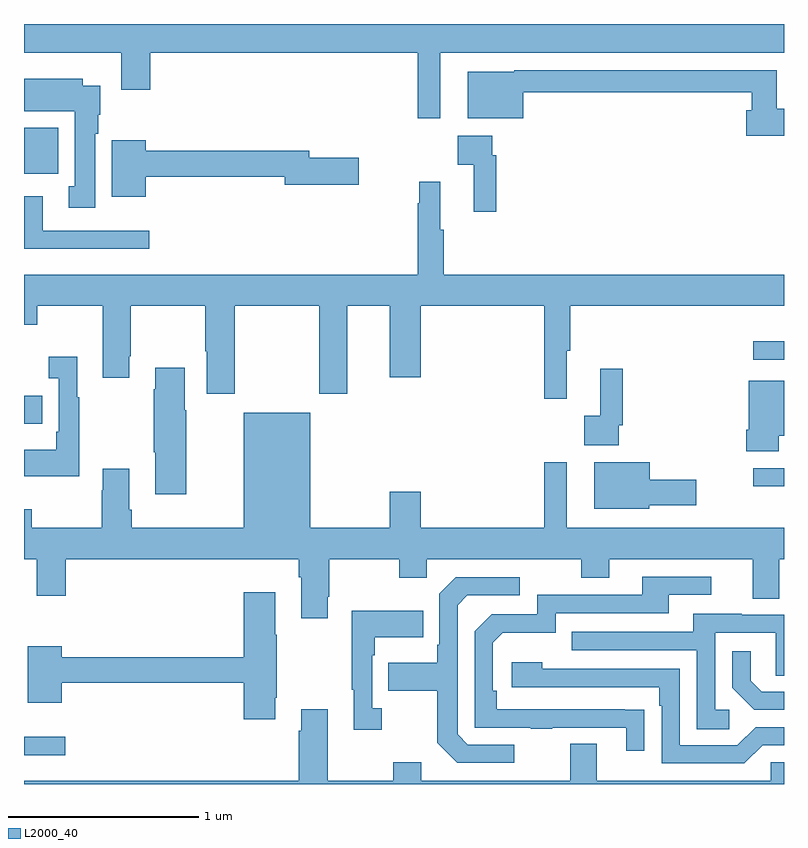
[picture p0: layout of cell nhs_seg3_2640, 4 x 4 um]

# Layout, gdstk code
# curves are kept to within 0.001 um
import gdstk
lib = gdstk.Library(unit=1e-6, precision=1e-09)
def R(c, l, rs):  # rectangles x0, y0, x1, y1
    for r in rs: c.add(gdstk.rectangle(r[:2], r[2:], *l))
def P(c, l, *ps):  # polygons
    for p in ps: c.add(gdstk.Polygon(p, *l))
L2000_40 = (2000, 40)

nhs_seg3_2640 = lib.new_cell('nhs_seg3_2640')
R(nhs_seg3_2640, L2000_40, [(247,698.552,247.216,698.649), (250.839,699.966,251,700.062), (247,700.295,247.097,700.443), (250.839,700.632,251,700.73), (247,701.612,247.18,701.854)])
P(nhs_seg3_2640, L2000_40, [(249.19,702.248),(251,702.248),(251,702.4),(247,702.4),(247,702.248),(247.511,702.248),(247.511,702.054),(247.664,702.054),(247.664,702.248),(249.073,702.248),(249.073,701.904),(249.19,701.904)],
  [(251,701.955),(250.961,701.955),(250.961,702.156),(249.579,702.156),(249.579,702.148),(249.335,702.148),(249.335,701.903),(249.628,701.903),(249.628,702.04),(250.829,702.04),(250.829,701.947),(250.802,701.947),(250.802,701.813),(251,701.813)],
  [(247.375,701.822),(247.39,701.822),(247.39,701.922),(247.402,701.922),(247.402,702.076),(247.309,702.076),(247.309,702.112),(247,702.112),(247,701.942),(247.268,701.942),(247.268,701.546),(247.235,701.546),(247.235,701.433),(247.375,701.433)],
  [(249.485,701.708),(249.465,701.708),(249.465,701.812),(249.282,701.812),(249.282,701.66),(249.368,701.66),(249.368,701.412),(249.485,701.412)],
  [(247.642,701.596),(248.372,701.596),(248.372,701.554),(248.761,701.554),(248.761,701.696),(248.5,701.696),(248.5,701.732),(247.642,701.732),(247.642,701.788),(247.463,701.788),(247.463,701.492),(247.642,701.492)],
  [(249.857,700.68),(249.875,700.68),(249.875,700.916),(251,700.916),(251,701.08),(249.209,701.08),(249.209,701.316),(249.191,701.316),(249.191,701.569),(249.081,701.569),(249.081,701.456),(249.073,701.456),(249.073,701.08),(247,701.08),(247,700.817),(247.071,700.817),(247.071,700.916),(247.415,700.916),(247.415,700.539),(247.555,700.539),(247.555,700.651),(247.563,700.651),(247.563,700.916),(247.954,700.916),(247.954,700.678),(247.961,700.678),(247.961,700.455),(248.109,700.455),(248.109,700.916),(248.554,700.916),(248.554,700.455),(248.701,700.455),(248.701,700.916),(248.924,700.916),(248.924,700.542),(249.088,700.542),(249.088,700.916),(249.739,700.916),(249.739,700.428),(249.857,700.428)],
  [(247.66,701.313),(247.099,701.313),(247.099,701.494),(247,701.494),(247,701.216),(247.66,701.216)],
  [(247.291,700.435),(247.279,700.435),(247.279,700.648),(247.131,700.648),(247.131,700.535),(247.182,700.535),(247.182,700.255),(247.17,700.255),(247.17,700.159),(247,700.159),(247,700.019),(247.291,700.019)],
  [(247.854,700.367),(247.846,700.367),(247.846,700.591),(247.691,700.591),(247.691,700.478),(247.684,700.478),(247.684,700.147),(247.691,700.147),(247.691,699.924),(247.854,699.924)],
  [(250.131,700.288),(250.151,700.288),(250.151,700.585),(250.034,700.585),(250.034,700.337),(249.948,700.337),(249.948,700.184),(250.131,700.184)],
  [(250.972,700.232),(251,700.232),(251,700.522),(250.814,700.522),(250.814,700.264),(250.802,700.264),(250.802,700.152),(250.972,700.152)],
  [(248.506,700.354),(248.156,700.354),(248.156,699.748),(247.568,699.748),(247.568,699.844),(247.555,699.844),(247.555,700.06),(247.415,700.06),(247.415,699.947),(247.408,699.947),(247.408,699.748),(247.041,699.748),(247.041,699.847),(247,699.847),(247,699.584),(247.067,699.584),(247.067,699.39),(247.22,699.39),(247.22,699.584),(248.447,699.584),(248.447,699.488),(248.459,699.488),(248.459,699.273),(248.599,699.273),(248.599,699.385),(248.607,699.385),(248.607,699.584),(248.974,699.584),(248.974,699.485),(249.12,699.485),(249.12,699.584),(249.934,699.584),(249.934,699.485),(250.081,699.485),(250.081,699.584),(250.835,699.584),(250.835,699.376),(250.975,699.376),(250.975,699.584),(251,699.584),(251,699.748),(249.856,699.748),(249.856,700.093),(249.739,700.093),(249.739,699.748),(249.088,699.748),(249.088,699.937),(248.924,699.937),(248.924,699.748),(248.506,699.748)],
  [(250.29,699.866),(250.537,699.866),(250.537,700.001),(250.294,700.001),(250.294,700.093),(250.001,700.093),(250.001,699.848),(250.29,699.848)],
  [(250.265,698.792),(249.488,698.793),(249.488,698.89),(249.468,698.89),(249.468,699.144),(249.521,699.197),(249.798,699.197),(249.798,699.3),(250.393,699.3),(250.393,699.396),(250.618,699.396),(250.618,699.492),(250.253,699.492),(250.253,699.396),(249.702,699.396),(249.702,699.294),(249.462,699.294),(249.372,699.204),(249.372,698.697),(249.667,698.697),(249.667,698.692),(249.779,698.692),(249.779,698.697),(250.169,698.697),(250.169,698.574),(250.265,698.574)],
  [(249.58,698.607),(249.336,698.607),(249.282,698.661),(249.282,699.342),(249.333,699.393),(249.61,699.393),(249.61,699.489),(249.273,699.489),(249.186,699.402),(249.186,699.133),(249.174,699.133),(249.174,699.037),(248.917,699.037),(248.917,698.89),(249.174,698.89),(249.174,698.617),(249.279,698.511),(249.58,698.511)],
  [(248.323,698.854),(248.331,698.854),(248.331,699.185),(248.323,699.185),(248.323,699.409),(248.156,699.409),(248.156,699.068),(247.198,699.068),(247.198,699.124),(247.019,699.124),(247.019,698.828),(247.198,698.828),(247.198,698.932),(248.156,698.932),(248.156,698.742),(248.323,698.742)],
  [(248.884,698.798),(248.832,698.798),(248.832,699.077),(248.845,699.077),(248.845,699.173),(249.101,699.173),(249.101,699.313),(248.724,699.313),(248.724,698.897),(248.735,698.897),(248.735,698.685),(248.884,698.685)],
  [(250.711,698.79),(250.638,698.79),(250.638,699.195),(250.956,699.195),(250.956,698.971),(251,698.971),(251,699.291),(250.777,699.291),(250.777,699.295),(250.523,699.295),(250.523,699.201),(249.883,699.201),(249.883,699.105),(250.542,699.105),(250.542,698.689),(250.711,698.689)],
  [(251,698.886),(250.882,698.886),(250.825,698.943),(250.825,699.1),(250.728,699.1),(250.728,698.906),(250.844,698.79),(251,698.79)],
  [(250.887,698.604),(251,698.604),(251,698.7),(250.851,698.7),(250.755,698.604),(250.452,698.604),(250.452,699.006),(249.728,699.006),(249.728,699.04),(249.567,699.04),(249.567,698.91),(250.343,698.91),(250.343,698.813),(250.356,698.813),(250.356,698.508),(250.791,698.508)],
  [(251,698.514),(250.929,698.514),(250.929,698.416),(250.015,698.416),(250.015,698.611),(249.875,698.611),(249.875,698.416),(249.091,698.416),(249.091,698.515),(248.944,698.515),(248.944,698.416),(248.599,698.416),(248.599,698.794),(248.459,698.794),(248.459,698.681),(248.447,698.681),(248.447,698.416),(247,698.416),(247,698.4),(251,698.4)])

lib.write_gds('nhs_seg3_2640.gds')
